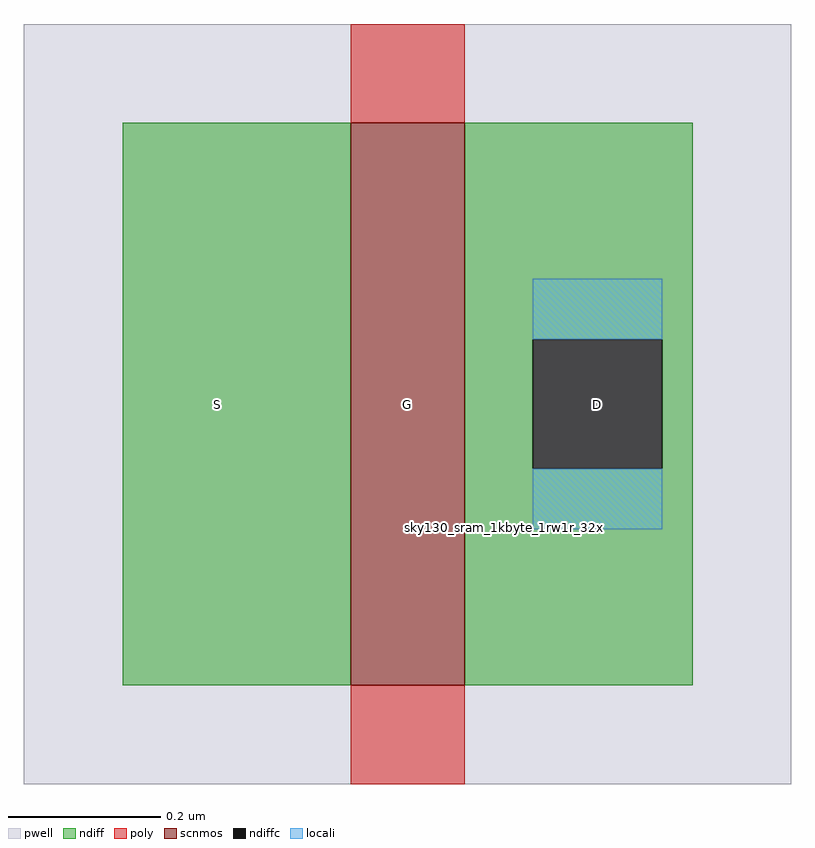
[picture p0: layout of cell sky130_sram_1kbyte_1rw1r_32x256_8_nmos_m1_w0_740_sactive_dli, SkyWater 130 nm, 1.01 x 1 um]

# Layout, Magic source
magic
tech sky130A
magscale 1 2
<< pwell >>
rect -26 -26 176 174
<< scnmos >>
rect 60 0 90 148
<< ndiff >>
rect 0 0 60 148
rect 90 91 150 148
rect 90 57 108 91
rect 142 57 150 91
rect 90 0 150 57
<< ndiffc >>
rect 108 57 142 91
<< poly >>
rect 60 148 90 174
rect 60 -26 90 0
<< locali >>
rect 108 91 142 107
rect 108 41 142 57
use sky130_sram_1kbyte_1rw1r_32x256_8_contact_11  sky130_sram_1kbyte_1rw1r_32x256_8_contact_11_0
transform 1 0 100 0 1 41
box 0 0 1 1
<< labels >>
rlabel locali s 125 74 125 74 4 D
port 1 nsew
rlabel poly s 75 74 75 74 4 G
port 2 nsew
rlabel mvpsubdiff s 25 74 25 74 4 S
<< properties >>
string FIXED_BBOX -25 -26 175 174
string GDS_FILE $PDKPATH/libs.ref/sky130_sram_macros/gds/sky130_sram_1kbyte_1rw1r_32x256_8.gds
string GDS_END 24370
string GDS_START 23648
<< end >>
